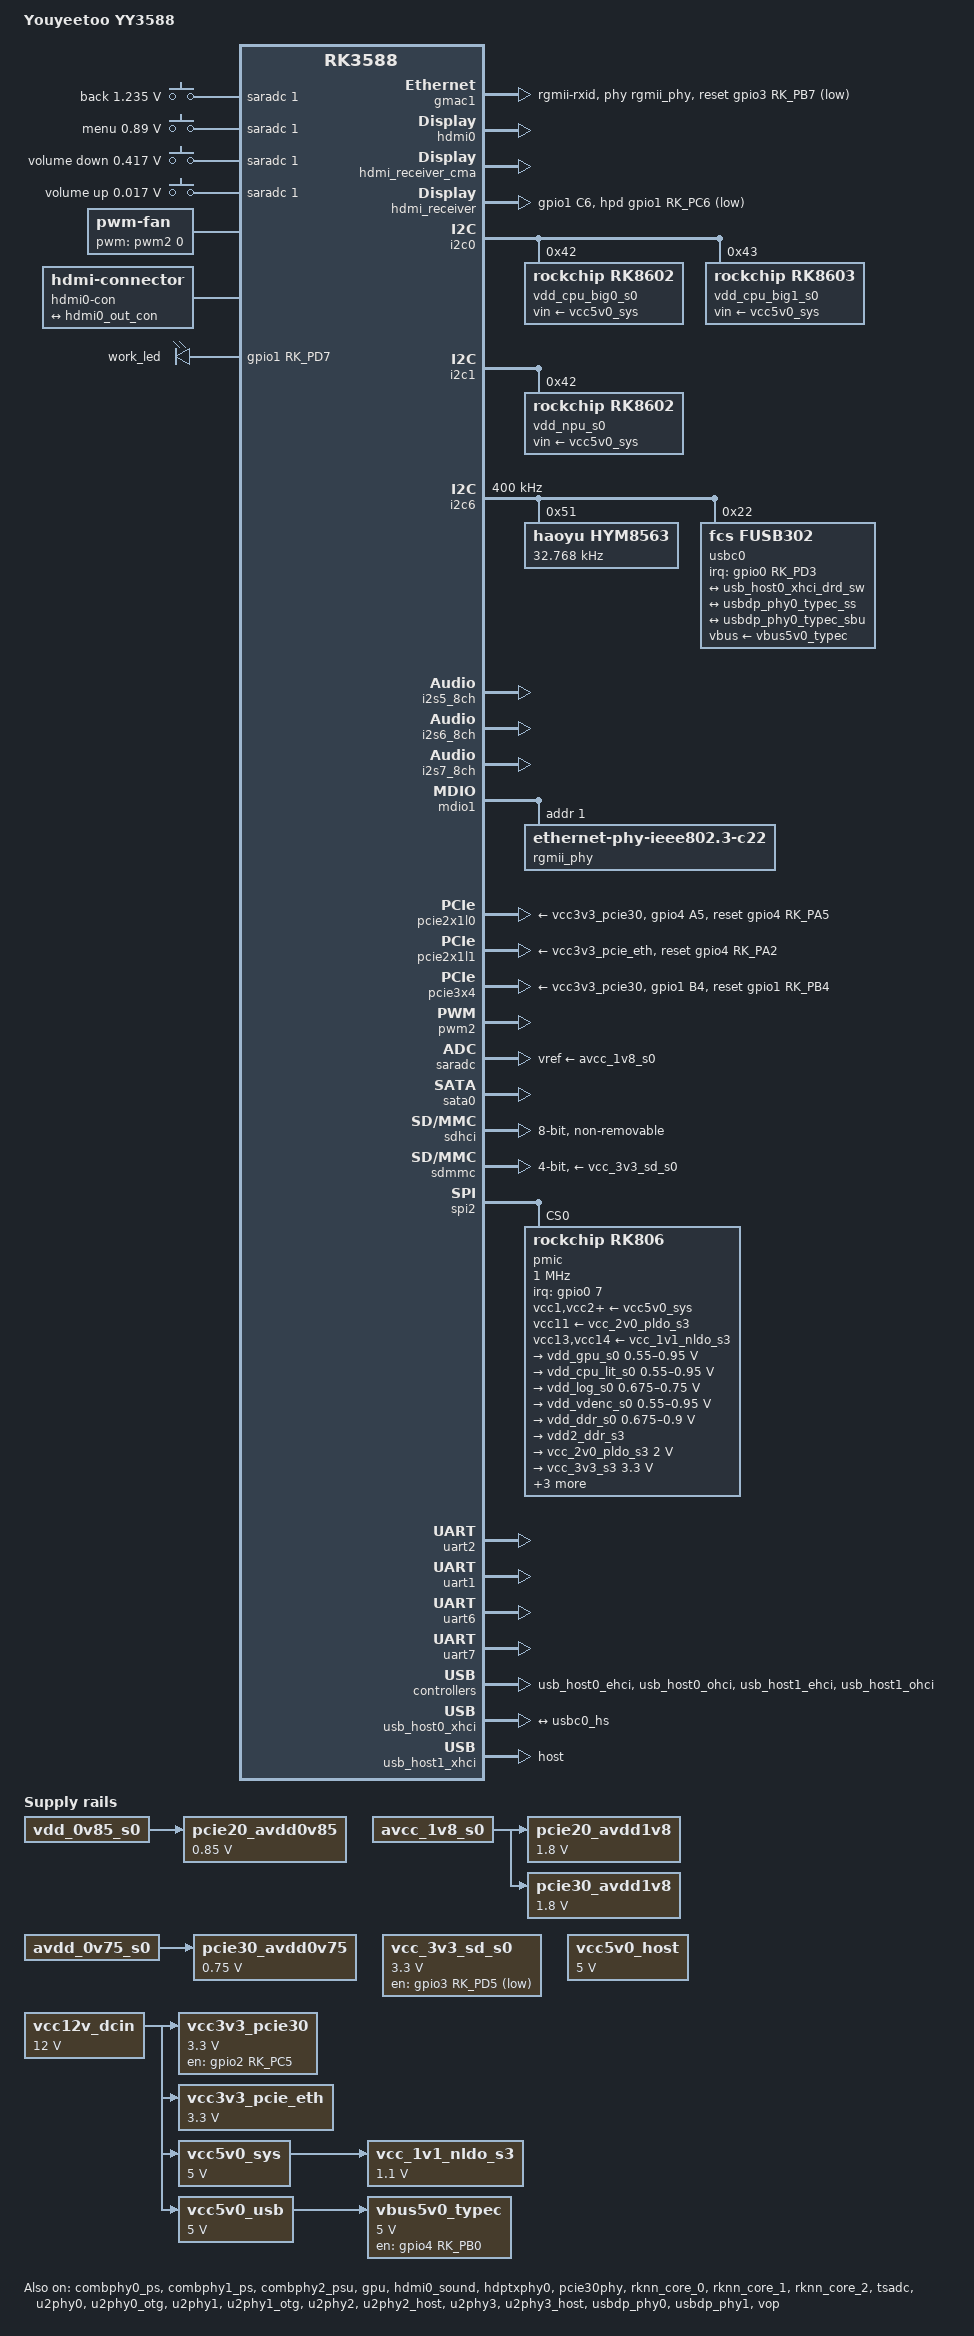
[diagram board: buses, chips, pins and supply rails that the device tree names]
// SPDX-License-Identifier: (GPL-2.0+ OR MIT)
/*
 * Copyright (c) 2024 Youyeetoo
 */

/dts-v1/;

#include <dt-bindings/pinctrl/rockchip.h>
#include <dt-bindings/gpio/gpio.h>
#include <dt-bindings/input/input.h>
#include <dt-bindings/usb/pd.h>
#include <dt-bindings/soc/rockchip,vop2.h>
#include "rk3588.dtsi"

/ {
	model = "Youyeetoo YY3588";
	compatible = "youyeetoo,yy3588", "rockchip,rk3588";

	aliases {
		ethernet0 = &r8125;
		ethernet1 = &gmac1;
		mmc0 = &sdhci;
		mmc1 = &sdmmc;
		mmc2 = &sdio;
		serial2 = &uart2;
	};


	chosen {
		stdout-path = "serial2:1500000n8";
	};

	/* ADC keys with multiple buttons */
	adc-keys-0 {
		compatible = "adc-keys";
		io-channel-names = "buttons";
		io-channels = <&saradc 1>;
		keyup-threshold-microvolt = <1800000>;
		status = "okay";

		back-key {
			label = "back";
			linux,code = <KEY_BACK>;
			press-threshold-microvolt = <1235000>;
		};

		menu-key {
			label = "menu";
			linux,code = <KEY_MENU>;
			press-threshold-microvolt = <890000>;
		};

		vol-down-key {
			label = "volume down";
			linux,code = <KEY_VOLUMEDOWN>;
			press-threshold-microvolt = <417000>;
		};

		vol-up-key {
			label = "volume up";
			linux,code = <KEY_VOLUMEUP>;
			press-threshold-microvolt = <17000>;
		};
	};

	/* PWM fan */
	fan: pwm-fan {
		compatible = "pwm-fan";
		#cooling-cells = <2>;
		cooling-levels = <0 50 100 150 200 255>;
		pwms = <&pwm2 0 50000 0>;
	};

	/* HDMI0 connector */
	hdmi0-con {
		compatible = "hdmi-connector";
		type = "a";

		port {
			hdmi0_con_in: endpoint {
				remote-endpoint = <&hdmi0_out_con>;
			};
		};
	};

	/* GPIO LEDs */
	leds {
		compatible = "gpio-leds";
		pinctrl-names = "default";
		pinctrl-0 = <&leds_rgb>;

		work_led {
			gpios = <&gpio1 RK_PD7 GPIO_ACTIVE_HIGH>;
			label = "work_led";
			linux,default-trigger = "heartbeat";
		};
	};

	/* Power regulators */
	pcie20_avdd0v85: pcie20-avdd0v85 {
		compatible = "regulator-fixed";
		regulator-always-on;
		regulator-boot-on;
		regulator-max-microvolt = <850000>;
		regulator-min-microvolt = <850000>;
		regulator-name = "pcie20_avdd0v85";
		vin-supply = <&vdd_0v85_s0>;
	};

	pcie20_avdd1v8: pcie20-avdd1v8 {
		compatible = "regulator-fixed";
		regulator-always-on;
		regulator-boot-on;
		regulator-max-microvolt = <1800000>;
		regulator-min-microvolt = <1800000>;
		regulator-name = "pcie20_avdd1v8";
		vin-supply = <&avcc_1v8_s0>;
	};

	pcie30_avdd0v75: pcie30-avdd0v75 {
		compatible = "regulator-fixed";
		regulator-always-on;
		regulator-boot-on;
		regulator-max-microvolt = <750000>;
		regulator-min-microvolt = <750000>;
		regulator-name = "pcie30_avdd0v75";
		vin-supply = <&avdd_0v75_s0>;
	};

	pcie30_avdd1v8: pcie30-avdd1v8 {
		compatible = "regulator-fixed";
		regulator-always-on;
		regulator-boot-on;
		regulator-max-microvolt = <1800000>;
		regulator-min-microvolt = <1800000>;
		regulator-name = "pcie30_avdd1v8";
		vin-supply = <&avcc_1v8_s0>;
	};

	vbus5v0_typec: vbus5v0-typec {
		compatible = "regulator-fixed";
		enable-active-high;
		gpio = <&gpio4 RK_PB0 GPIO_ACTIVE_HIGH>;
		pinctrl-names = "default";
		pinctrl-0 = <&typec5v_pwren>;
		regulator-max-microvolt = <5000000>;
		regulator-min-microvolt = <5000000>;
		regulator-name = "vbus5v0_typec";
		vin-supply = <&vcc5v0_usb>;
	};

	vcc_1v1_nldo_s3: vcc-1v1-nldo-s3 {
		compatible = "regulator-fixed";
		regulator-always-on;
		regulator-boot-on;
		regulator-max-microvolt = <1100000>;
		regulator-min-microvolt = <1100000>;
		regulator-name = "vcc_1v1_nldo_s3";
		vin-supply = <&vcc5v0_sys>;
	};

	vcc_3v3_sd_s0: vcc-3v3-sd-s0 {
		compatible = "regulator-fixed";
		enable-active-low;
		gpios = <&gpio3 RK_PD5 GPIO_ACTIVE_LOW>;
		pinctrl-names = "default";
		pinctrl-0 = <&sdmmc_pwr>;
		regulator-max-microvolt = <3300000>;
		regulator-min-microvolt = <3300000>;
		regulator-name = "vcc_3v3_sd_s0";
	};

	vcc3v3_pcie30: vcc3v3-pcie30 {
		compatible = "regulator-fixed";
		enable-active-high;
		gpios = <&gpio2 RK_PC5 GPIO_ACTIVE_HIGH>;
		regulator-max-microvolt = <3300000>;
		regulator-min-microvolt = <3300000>;
		regulator-name = "vcc3v3_pcie30";
		startup-delay-us = <5000>;
		vin-supply = <&vcc12v_dcin>;
	};

	vcc3v3_pcie_eth: vcc3v3-pcie-eth {
		compatible = "regulator-fixed";
		regulator-always-on;
		regulator-boot-on;
		regulator-max-microvolt = <3300000>;
		regulator-min-microvolt = <3300000>;
		regulator-name = "vcc3v3_pcie_eth";
		vin-supply = <&vcc12v_dcin>;
	};

	vcc5v0_host: vcc5v0-host {
		compatible = "regulator-fixed";
		enable-active-high;
		regulator-always-on;
		regulator-boot-on;
		regulator-max-microvolt = <5000000>;
		regulator-min-microvolt = <5000000>;
		regulator-name = "vcc5v0_host";
	};

	vcc5v0_sys: vcc5v0-sys {
		compatible = "regulator-fixed";
		regulator-always-on;
		regulator-boot-on;
		regulator-max-microvolt = <5000000>;
		regulator-min-microvolt = <5000000>;
		regulator-name = "vcc5v0_sys";
		vin-supply = <&vcc12v_dcin>;
	};

	vcc5v0_usb: vcc5v0-usb {
		compatible = "regulator-fixed";
		regulator-always-on;
		regulator-boot-on;
		regulator-max-microvolt = <5000000>;
		regulator-min-microvolt = <5000000>;
		regulator-name = "vcc5v0_usb";
		vin-supply = <&vcc12v_dcin>;
	};

	vcc12v_dcin: vcc12v-dcin {
		compatible = "regulator-fixed";
		regulator-always-on;
		regulator-boot-on;
		regulator-max-microvolt = <12000000>;
		regulator-min-microvolt = <12000000>;
		regulator-name = "vcc12v_dcin";
	};
};

/* Combo PHY */
&combphy0_ps {
	status = "okay";
};

&combphy1_ps {
	status = "okay";
};

&combphy2_psu {
	status = "okay";
};

/* CPU power supplies */
&cpu_l0 {
	cpu-supply = <&vdd_cpu_lit_s0>;
};

&cpu_l1 {
	cpu-supply = <&vdd_cpu_lit_s0>;
};

&cpu_l2 {
	cpu-supply = <&vdd_cpu_lit_s0>;
};

&cpu_l3 {
	cpu-supply = <&vdd_cpu_lit_s0>;
};

&cpu_b0 {
	cpu-supply = <&vdd_cpu_big0_s0>;
};

&cpu_b1 {
	cpu-supply = <&vdd_cpu_big0_s0>;
};

&cpu_b2 {
	cpu-supply = <&vdd_cpu_big1_s0>;
};

&cpu_b3 {
	cpu-supply = <&vdd_cpu_big1_s0>;
};

/* Ethernet GMAC1 - RTL8211F PHY */
&gmac1 {
	clock_in_out = "output";
	phy-handle = <&rgmii_phy>;
	phy-mode = "rgmii-rxid";
	pinctrl-0 = <&gmac1_miim
		     &gmac1_tx_bus2
		     &gmac1_rx_bus2
		     &gmac1_rgmii_clk
		     &gmac1_rgmii_bus>;
	pinctrl-names = "default";
	snps,reset-gpio = <&gpio3 RK_PB7 GPIO_ACTIVE_LOW>;
	snps,reset-active-low;
	snps,reset-delays-us = <0 20000 100000>;
	tx_delay = <0x43>;
	status = "okay";
};

/* GPU */
&gpu {
	mali-supply = <&vdd_gpu_s0>;
	status = "okay";
};

/* HDMI0 */
&hdmi0 {
	enable-gpios = <&gpio4 RK_PB1 GPIO_ACTIVE_HIGH>;
	status = "okay";
};

&hdmi0_in {
	hdmi0_in_vp0: endpoint {
		remote-endpoint = <&vp0_out_hdmi0>;
	};
};

&hdmi0_out {
	hdmi0_out_con: endpoint {
		remote-endpoint = <&hdmi0_con_in>;
	};
};

&hdmi0_sound {
	status = "okay";
};

/* HDMI Receiver (HDMI IN) */
&hdmi_receiver_cma {
	status = "okay";
};

&hdmi_receiver {
	hpd-gpios = <&gpio1 RK_PC6 GPIO_ACTIVE_LOW>;
	pinctrl-0 = <&hdmim1_rx_cec &hdmim1_rx_hpdin &hdmim1_rx_scl &hdmim1_rx_sda &hdmirx_hpd>;
	pinctrl-names = "default";
	status = "okay";
};

/* HDMI PHYs */
&hdptxphy0 {
	status = "okay";
};

/* I2C0 - PMIC */
&i2c0 {
	pinctrl-names = "default";
	pinctrl-0 = <&i2c0m2_xfer>;
	status = "okay";

	vdd_cpu_big0_s0: regulator@42 {
		compatible = "rockchip,rk8602";
		reg = <0x42>;
		fcs,suspend-voltage-selector = <1>;
		regulator-name = "vdd_cpu_big0_s0";
		regulator-always-on;
		regulator-boot-on;
		regulator-min-microvolt = <550000>;
		regulator-max-microvolt = <1050000>;
		regulator-ramp-delay = <2300>;
		vin-supply = <&vcc5v0_sys>;

		regulator-state-mem {
			regulator-off-in-suspend;
		};
	};

	vdd_cpu_big1_s0: regulator@43 {
		compatible = "rockchip,rk8603", "rockchip,rk8602";
		reg = <0x43>;
		fcs,suspend-voltage-selector = <1>;
		regulator-name = "vdd_cpu_big1_s0";
		regulator-always-on;
		regulator-boot-on;
		regulator-min-microvolt = <550000>;
		regulator-max-microvolt = <1050000>;
		regulator-ramp-delay = <2300>;
		vin-supply = <&vcc5v0_sys>;

		regulator-state-mem {
			regulator-off-in-suspend;
		};
	};
};

/* I2C1 - NPU */
&i2c1 {
	pinctrl-names = "default";
	pinctrl-0 = <&i2c1m2_xfer>;
	status = "okay";

	vdd_npu_s0: regulator@42 {
		compatible = "rockchip,rk8602";
		reg = <0x42>;
		fcs,suspend-voltage-selector = <1>;
		regulator-name = "vdd_npu_s0";
		regulator-boot-on;
		regulator-min-microvolt = <550000>;
		regulator-max-microvolt = <950000>;
		regulator-ramp-delay = <2300>;
		vin-supply = <&vcc5v0_sys>;

		regulator-state-mem {
			regulator-off-in-suspend;
		};
	};
};

/* I2C6 - RTC and USB-C PD */
&i2c6 {
	clock-frequency = <400000>;
	pinctrl-names = "default";
	pinctrl-0 = <&i2c6m0_xfer>;
	status = "okay";

	/* RTC Hym8563 */
	hym8563: hym8563@51 {
		compatible = "haoyu,hym8563";
		reg = <0x51>;
		#clock-cells = <0>;
		clock-frequency = <32768>;
		clock-output-names = "hym8563";
		status = "okay";
	};

	/* USB-C PD FUSB302 */
	usbc0: fusb302@22 {
		compatible = "fcs,fusb302";
		reg = <0x22>;
		interrupt-parent = <&gpio0>;
		interrupts = <RK_PD3 IRQ_TYPE_LEVEL_LOW>;
		pinctrl-names = "default";
		pinctrl-0 = <&usbc0_int>;
		status = "okay";
		vbus-supply = <&vbus5v0_typec>;

		usb_con: connector {
			compatible = "usb-c-connector";
			label = "USB-C";
			data-role = "dual";
			power-role = "dual";
			try-power-role = "sink";
			op-sink-microwatt = <1000000>;
			sink-pdos = <PDO_FIXED(5000, 1000, PDO_FIXED_USB_COMM)>;
			source-pdos = <PDO_FIXED(5000, 3000, PDO_FIXED_USB_COMM)>;

			ports {
				#address-cells = <1>;
				#size-cells = <0>;

				port@0 {
					reg = <0>;
					usbc0_hs: endpoint {
						remote-endpoint = <&usb_host0_xhci_drd_sw>;
					};
				};

				port@1 {
					reg = <1>;
					usbc0_ss: endpoint {
						remote-endpoint = <&usbdp_phy0_typec_ss>;
					};
				};

				port@2 {
					reg = <2>;
					usbc0_sbu: endpoint {
						remote-endpoint = <&usbdp_phy0_typec_sbu>;
					};
				};
			};
		};
	};
};

/* I2S5 - HDMI audio */
&i2s5_8ch {
	status = "okay";
};

/* I2S6 - HDMI1 audio */
&i2s6_8ch {
	status = "okay";
};

/* I2S7 - HDMI-Rx audio */
&i2s7_8ch {
	status = "okay";
};

/* MDIO1 - Ethernet PHY */
&mdio1 {
	rgmii_phy: phy@1 {
		compatible = "ethernet-phy-ieee802.3-c22";
		reg = <0x1>;
	};
};

/* PCIe 2.0 x1 - WiFi slot */
&pcie2x1l0 {
	pinctrl-names = "default";
	pinctrl-0 = <&pcie_wifi_pinctl>;
	reset-gpios = <&gpio4 RK_PA5 GPIO_ACTIVE_HIGH>;
	status = "okay";
	vpcie3v3-supply = <&vcc3v3_pcie30>;
};

/* PCIe 2.0 x1 - RTL8125 */
&pcie2x1l1 {
	reset-gpios = <&gpio4 RK_PA2 GPIO_ACTIVE_HIGH>;
	rockchip,init-delay-ms = <500>;
	status = "okay";
	vpcie3v3-supply = <&vcc3v3_pcie_eth>;

	pcie@0,0 {
		reg = <0x00100000 0 0 0 0>;
		#address-cells = <3>;
		#size-cells = <2>;

		r8125: pcie@10,0 {
			reg = <0x000000 0 0 0 0>;
		};
	};
};

/* PCIe 3.0 PHY */
&pcie30phy {
	status = "okay";
};

/* PCIe 3.0 x4 */
&pcie3x4 {
	pinctrl-names = "default";
	pinctrl-0 = <&pcie30x4_clkreqn_m1>;
	reset-gpios = <&gpio1 RK_PB4 GPIO_ACTIVE_HIGH>;
	status = "okay";
	vpcie3v3-supply = <&vcc3v3_pcie30>;
};

/* Pin control */
&pinctrl {
	gpio-leds {
		leds_rgb: leds-rgb {
			rockchip,pins =
				<1 RK_PD6 RK_FUNC_GPIO &pcfg_pull_down>,
				<1 RK_PD7 RK_FUNC_GPIO &pcfg_pull_down>;
		};
	};

	pcie {
		pcie30x4_clkreqn_m1: pcie30x4-clkreqn-m1 {
			rockchip,pins = <1 RK_PB4 RK_FUNC_GPIO &pcfg_pull_up>;
		};

		pcie_wifi_pinctl: pcie-wifi-pinctl {
			rockchip,pins = <4 RK_PA5 RK_FUNC_GPIO &pcfg_pull_up>;
		};
	};

	sdmmc {
		sdmmc_pwr: sdmmc-pwr {
			rockchip,pins = <3 RK_PD5 RK_FUNC_GPIO &pcfg_pull_down>;
		};
	};

	usb {
		typec5v_pwren: typec5v-pwren {
			rockchip,pins = <4 RK_PB0 RK_FUNC_GPIO &pcfg_pull_none>;
		};

		usbc0_int: usbc0-int {
			rockchip,pins = <0 RK_PD3 RK_FUNC_GPIO &pcfg_pull_up>;
		};
	};

	hdmirx {
		hdmirx_hpd: hdmirx-hpd {
			rockchip,pins = <1 RK_PC6 RK_FUNC_GPIO &pcfg_pull_up>;
		};
	};
};

/* PWN2 - Fan */
&pwm2 {
	pinctrl-names = "active";
	pinctrl-0 = <&pwm2m2_pins>;
	status = "okay";
};

/* RKNN NPU */
&rknn_core_0 {
	npu-supply = <&vdd_npu_s0>;
	sram-supply = <&vdd_npu_s0>;
	status = "okay";
};

&rknn_core_1 {
	npu-supply = <&vdd_npu_s0>;
	sram-supply = <&vdd_npu_s0>;
	status = "okay";
};

&rknn_core_2 {
	npu-supply = <&vdd_npu_s0>;
	sram-supply = <&vdd_npu_s0>;
	status = "okay";
};

&rknn_mmu_0 {
	status = "okay";
};

&rknn_mmu_1 {
	status = "okay";
};

&rknn_mmu_2 {
	status = "okay";
};

/* SARADC - for ADC keys */
&saradc {
	vref-supply = <&avcc_1v8_s0>;
	status = "okay";
};

/* SATA */
&sata0 {
	status = "okay";
};

/* eMMC */
&sdhci {
	bus-width = <8>;
	no-sdio;
	no-sd;
	non-removable;
	max-frequency = <200000000>;
	mmc-hs400-1_8v;
	mmc-hs400-enhanced-strobe;
	status = "okay";
};

/* SD card */
&sdmmc {
	bus-width = <4>;
	cap-mmc-highspeed;
	cap-sd-highspeed;
	disable-wp;
	max-frequency = <150000000>;
	no-sdio;
	no-mmc;
	pinctrl-names = "default";
	pinctrl-0 = <&sdmmc_bus4 &sdmmc_clk &sdmmc_cmd &sdmmc_det>;
	sd-uhs-sdr104;
	vmmc-supply = <&vcc_3v3_sd_s0>;
	vqmmc-supply = <&vccio_sd_s0>;
	status = "okay";
};

/* SPI Flash - not populated on YY3588, disabled to avoid UART7 conflict */
&sfc {
	status = "disabled";
};

&spi2 {
	status = "okay";
	assigned-clocks = <&cru CLK_SPI2>;
	assigned-clock-rates = <200000000>;
	pinctrl-names = "default";
	pinctrl-0 = <&spi2m2_cs0 &spi2m2_pins>;
	num-cs = <1>;

	pmic@0 {
		compatible = "rockchip,rk806";
		spi-max-frequency = <1000000>;
		reg = <0x0>;

		interrupt-parent = <&gpio0>;
		interrupts = <7 IRQ_TYPE_LEVEL_LOW>;

		pinctrl-names = "default";
		pinctrl-0 = <&pmic_pins>, <&rk806_dvs1_null>,
			    <&rk806_dvs2_null>, <&rk806_dvs3_null>;

		system-power-controller;

		vcc1-supply = <&vcc5v0_sys>;
		vcc2-supply = <&vcc5v0_sys>;
		vcc3-supply = <&vcc5v0_sys>;
		vcc4-supply = <&vcc5v0_sys>;
		vcc5-supply = <&vcc5v0_sys>;
		vcc6-supply = <&vcc5v0_sys>;
		vcc7-supply = <&vcc5v0_sys>;
		vcc8-supply = <&vcc5v0_sys>;
		vcc9-supply = <&vcc5v0_sys>;
		vcc10-supply = <&vcc5v0_sys>;
		vcc11-supply = <&vcc_2v0_pldo_s3>;
		vcc12-supply = <&vcc5v0_sys>;
		vcc13-supply = <&vcc_1v1_nldo_s3>;
		vcc14-supply = <&vcc_1v1_nldo_s3>;
		vcca-supply = <&vcc5v0_sys>;

		gpio-controller;
		#gpio-cells = <2>;

		rk806_dvs1_null: dvs1-null-pins {
			pins = "gpio_pwrctrl1";
			function = "pin_fun0";
		};

		rk806_dvs2_null: dvs2-null-pins {
			pins = "gpio_pwrctrl2";
			function = "pin_fun0";
		};

		rk806_dvs3_null: dvs3-null-pins {
			pins = "gpio_pwrctrl3";
			function = "pin_fun0";
		};

		regulators {
			vdd_gpu_s0: vdd_gpu_mem_s0: dcdc-reg1 {
				regulator-boot-on;
				regulator-min-microvolt = <550000>;
				regulator-max-microvolt = <950000>;
				regulator-ramp-delay = <12500>;
				regulator-name = "vdd_gpu_s0";
				regulator-enable-ramp-delay = <400>;

				regulator-state-mem {
					regulator-off-in-suspend;
				};
			};

			vdd_cpu_lit_s0: vdd_cpu_lit_mem_s0: dcdc-reg2 {
				regulator-always-on;
				regulator-boot-on;
				regulator-min-microvolt = <550000>;
				regulator-max-microvolt = <950000>;
				regulator-ramp-delay = <12500>;
				regulator-name = "vdd_cpu_lit_s0";

				regulator-state-mem {
					regulator-off-in-suspend;
				};
			};

			vdd_log_s0: dcdc-reg3 {
				regulator-always-on;
				regulator-boot-on;
				regulator-min-microvolt = <675000>;
				regulator-max-microvolt = <750000>;
				regulator-ramp-delay = <12500>;
				regulator-name = "vdd_log_s0";

				regulator-state-mem {
					regulator-off-in-suspend;
					regulator-suspend-microvolt = <750000>;
				};
			};

			vdd_vdenc_s0: vdd_vdenc_mem_s0: dcdc-reg4 {
				regulator-always-on;
				regulator-boot-on;
				regulator-min-microvolt = <550000>;
				regulator-max-microvolt = <950000>;
				regulator-init-microvolt = <750000>;
				regulator-ramp-delay = <12500>;
				regulator-name = "vdd_vdenc_s0";

				regulator-state-mem {
					regulator-off-in-suspend;
				};
			};

			vdd_ddr_s0: dcdc-reg5 {
				regulator-always-on;
				regulator-boot-on;
				regulator-min-microvolt = <675000>;
				regulator-max-microvolt = <900000>;
				regulator-ramp-delay = <12500>;
				regulator-name = "vdd_ddr_s0";

				regulator-state-mem {
					regulator-off-in-suspend;
					regulator-suspend-microvolt = <850000>;
				};
			};

			vdd2_ddr_s3: dcdc-reg6 {
				regulator-always-on;
				regulator-boot-on;
				regulator-name = "vdd2_ddr_s3";

				regulator-state-mem {
					regulator-on-in-suspend;
				};
			};

			vcc_2v0_pldo_s3: dcdc-reg7 {
				regulator-always-on;
				regulator-boot-on;
				regulator-min-microvolt = <2000000>;
				regulator-max-microvolt = <2000000>;
				regulator-ramp-delay = <12500>;
				regulator-name = "vdd_2v0_pldo_s3";

				regulator-state-mem {
					regulator-on-in-suspend;
					regulator-suspend-microvolt = <2000000>;
				};
			};

			vcc_3v3_s3: dcdc-reg8 {
				regulator-always-on;
				regulator-boot-on;
				regulator-min-microvolt = <3300000>;
				regulator-max-microvolt = <3300000>;
				regulator-name = "vcc_3v3_s3";

				regulator-state-mem {
					regulator-on-in-suspend;
					regulator-suspend-microvolt = <3300000>;
				};
			};

			vddq_ddr_s0: dcdc-reg9 {
				regulator-always-on;
				regulator-boot-on;
				regulator-name = "vddq_ddr_s0";

				regulator-state-mem {
					regulator-off-in-suspend;
				};
			};

			vcc_1v8_s3: dcdc-reg10 {
				regulator-always-on;
				regulator-boot-on;
				regulator-min-microvolt = <1800000>;
				regulator-max-microvolt = <1800000>;
				regulator-name = "vcc_1v8_s3";

				regulator-state-mem {
					regulator-on-in-suspend;
					regulator-suspend-microvolt = <1800000>;
				};
			};

			avcc_1v8_s0: pldo-reg1 {
				regulator-always-on;
				regulator-boot-on;
				regulator-min-microvolt = <1800000>;
				regulator-max-microvolt = <1800000>;
				regulator-name = "avcc_1v8_s0";

				regulator-state-mem {
					regulator-off-in-suspend;
					regulator-suspend-microvolt = <1800000>;
				};
			};

			vcc_1v8_s0: pldo-reg2 {
				regulator-always-on;
				regulator-boot-on;
				regulator-min-microvolt = <1800000>;
				regulator-max-microvolt = <1800000>;
				regulator-name = "vcc_1v8_s0";

				regulator-state-mem {
					regulator-off-in-suspend;
					regulator-suspend-microvolt = <1800000>;
				};
			};

			avdd_1v2_s0: pldo-reg3 {
				regulator-always-on;
				regulator-boot-on;
				regulator-min-microvolt = <1200000>;
				regulator-max-microvolt = <1200000>;
				regulator-name = "avdd_1v2_s0";

				regulator-state-mem {
					regulator-off-in-suspend;
				};
			};

			vcc_3v3_s0: pldo-reg4 {
				regulator-always-on;
				regulator-boot-on;
				regulator-min-microvolt = <3300000>;
				regulator-max-microvolt = <3300000>;
				regulator-ramp-delay = <12500>;
				regulator-name = "vcc_3v3_s0";

				regulator-state-mem {
					regulator-off-in-suspend;
				};
			};

			vccio_sd_s0: pldo-reg5 {
				regulator-always-on;
				regulator-boot-on;
				regulator-min-microvolt = <1800000>;
				regulator-max-microvolt = <3300000>;
				regulator-ramp-delay = <12500>;
				regulator-name = "vccio_sd_s0";

				regulator-state-mem {
					regulator-off-in-suspend;
				};
			};

			pldo6_s3: pldo-reg6 {
				regulator-always-on;
				regulator-boot-on;
				regulator-min-microvolt = <1800000>;
				regulator-max-microvolt = <1800000>;
				regulator-name = "pldo6_s3";

				regulator-state-mem {
					regulator-on-in-suspend;
					regulator-suspend-microvolt = <1800000>;
				};
			};

			vdd_0v75_s3: nldo-reg1 {
				regulator-always-on;
				regulator-boot-on;
				regulator-min-microvolt = <750000>;
				regulator-max-microvolt = <750000>;
				regulator-name = "vdd_0v75_s3";

				regulator-state-mem {
					regulator-on-in-suspend;
					regulator-suspend-microvolt = <750000>;
				};
			};

			vdd_ddr_pll_s0: nldo-reg2 {
				regulator-always-on;
				regulator-boot-on;
				regulator-min-microvolt = <850000>;
				regulator-max-microvolt = <850000>;
				regulator-name = "vdd_ddr_pll_s0";

				regulator-state-mem {
					regulator-off-in-suspend;
					regulator-suspend-microvolt = <850000>;
				};
			};

			avdd_0v75_s0: nldo-reg3 {
				regulator-always-on;
				regulator-boot-on;
				regulator-min-microvolt = <750000>;
				regulator-max-microvolt = <750000>;
				regulator-name = "avdd_0v75_s0";

				regulator-state-mem {
					regulator-off-in-suspend;
				};
			};

			vdd_0v85_s0: nldo-reg4 {
				regulator-always-on;
				regulator-boot-on;
				regulator-min-microvolt = <850000>;
				regulator-max-microvolt = <850000>;
				regulator-name = "vdd_0v85_s0";

				regulator-state-mem {
					regulator-off-in-suspend;
				};
			};

			vdd_0v75_s0: nldo-reg5 {
				regulator-always-on;
				regulator-boot-on;
				regulator-min-microvolt = <750000>;
				regulator-max-microvolt = <750000>;
				regulator-name = "vdd_0v75_s0";

				regulator-state-mem {
					regulator-off-in-suspend;
				};
			};
		};
	};
};

/* Thermal ADC */
&tsadc {
	status = "okay";
};

/* Thermal management */
&package_thermal {
	polling-delay = <1000>;

	trips {
		package_fan0: package-fan0 {
			temperature = <55000>;
			hysteresis = <2000>;
			type = "active";
		};
		package_fan1: package-fan1 {
			temperature = <65000>;
			hysteresis = <2000>;
			type = "active";
		};
	};

	cooling-maps {
		map1 {
			trip = <&package_fan0>;
			cooling-device = <&fan THERMAL_NO_LIMIT 1>;
		};
		map2 {
			trip = <&package_fan1>;
			cooling-device = <&fan 2 THERMAL_NO_LIMIT>;
		};
	};
};

/* USB 2.0 PHY */
&u2phy0 {
	status = "okay";
};

&u2phy0_otg {
	rockchip,typec-vbus-det;
	status = "okay";
};

&u2phy1 {
	status = "okay";
};

&u2phy1_otg {
	phy-supply = <&vcc5v0_host>;
	status = "okay";
};

&u2phy2 {
	status = "okay";
};

&u2phy2_host {
	phy-supply = <&vcc5v0_host>;
	status = "okay";
};

&u2phy3 {
	status = "okay";
};

&u2phy3_host {
	phy-supply = <&vcc5v0_host>;
	status = "okay";
};

/* UARTs */
&uart2 {
	pinctrl-0 = <&uart2m0_xfer>;
	status = "okay";
};

&uart1 {
	pinctrl-names = "default";
	pinctrl-0 = <&uart1m0_xfer>;
	status = "okay";
};

&uart6 {
	pinctrl-names = "default";
	pinctrl-0 = <&uart6m0_xfer>;
	status = "okay";
};

&uart7 {
	pinctrl-names = "default";
	pinctrl-0 = <&uart7m0_xfer>;
	status = "okay";
};

/* USB host controllers */
&usb_host0_ehci {
	status = "okay";
};

&usb_host0_ohci {
	status = "okay";
};

&usb_host0_xhci {
	usb-role-switch;
	status = "okay";

	port {
		usb_host0_xhci_drd_sw: endpoint {
			remote-endpoint = <&usbc0_hs>;
		};
	};
};

&usb_host1_ehci {
	status = "okay";
};

&usb_host1_ohci {
	status = "okay";
};

/* USB 3.0 DRD */
&usbdp_phy0 {
	orientation-switch;
	sbu1-dc-gpios = <&gpio4 RK_PA6 GPIO_ACTIVE_HIGH>;
	sbu2-dc-gpios = <&gpio4 RK_PA7 GPIO_ACTIVE_HIGH>;
	status = "okay";

	port {
		#address-cells = <1>;
		#size-cells = <0>;

		usbdp_phy0_typec_ss: endpoint@0 {
			reg = <0>;
			remote-endpoint = <&usbc0_ss>;
		};

		usbdp_phy0_typec_sbu: endpoint@1 {
			reg = <1>;
			remote-endpoint = <&usbc0_sbu>;
		};
	};
};

/* USB 3.0 Host for USB-A ports */
&usbdp_phy1 {
	rockchip,dp-lane-mux = <2 3>;
	status = "okay";
};

&usb_host1_xhci {
	dr_mode = "host";
	status = "okay";
};

/* VOP */
&vop {
	status = "okay";
};

&vop_mmu {
	status = "okay";
};

/* VP0 - HDMI0 */
&vp0 {
	vp0_out_hdmi0: endpoint@ROCKCHIP_VOP2_EP_HDMI0 {
		reg = <ROCKCHIP_VOP2_EP_HDMI0>;
		remote-endpoint = <&hdmi0_in_vp0>;
	};
};

